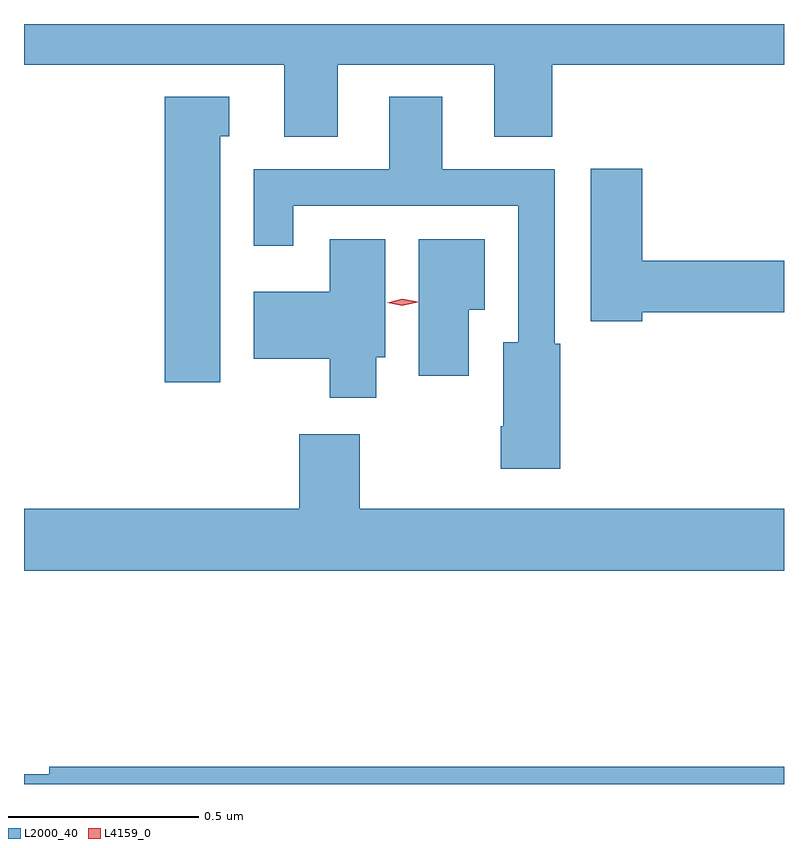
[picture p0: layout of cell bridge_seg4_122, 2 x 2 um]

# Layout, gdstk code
import gdstk
lib = gdstk.Library(unit=1e-6, precision=1e-09)
def P(c, l, *ps):  # polygons
    for p in ps: c.add(gdstk.Polygon(p, *l))
L2000_40 = (2000, 40)
L4159_0 = (4159, 0)

bridge_seg4_122 = lib.new_cell('bridge_seg4_122')
P(bridge_seg4_122, L2000_40, [(225.967,776.84),(226.379,776.84),(226.379,776.65),(226.532,776.65),(226.532,776.84),(227.142,776.84),(227.142,776.947),(225.142,776.947),(225.142,776.84),(225.827,776.84),(225.827,776.65),(225.967,776.65)],
  [(226.553,776.106),(226.539,776.106),(226.539,776.565),(226.243,776.565),(226.243,776.755),(226.103,776.755),(226.103,776.565),(225.746,776.565),(225.746,776.364),(225.85,776.364),(225.85,776.469),(226.443,776.469),(226.443,776.11),(226.403,776.11),(226.403,775.888),(226.396,775.888),(226.396,775.776),(226.553,775.776)],
  [(225.658,776.652),(225.682,776.652),(225.682,776.755),(225.512,776.755),(225.512,776.004),(225.658,776.004)],
  [(226.769,776.188),(227.142,776.188),(227.142,776.324),(226.769,776.324),(226.769,776.566),(226.634,776.566),(226.634,776.165),(226.769,776.165)],
  [(226.312,776.195),(226.354,776.195),(226.354,776.38),(226.181,776.38),(226.181,776.022),(226.312,776.022)],
  [(226.069,776.07),(226.093,776.07),(226.093,776.38),(225.947,776.38),(225.947,776.242),(225.746,776.242),(225.746,776.066),(225.947,776.066),(225.947,775.964),(226.069,775.964)],
  [(227.142,775.672),(226.026,775.672),(226.026,775.867),(225.866,775.867),(225.866,775.672),(225.142,775.672),(225.142,775.508),(227.142,775.508)],
  [(227.142,774.992),(225.208,774.992),(225.208,774.973),(225.142,774.973),(225.142,774.947),(227.142,774.947)])
P(bridge_seg4_122, L4159_0, [(226.138,776.205),(226.098,776.214),(226.097,776.214),(226.098,776.214),(226.137,776.224),(226.178,776.216),(226.178,776.215),(226.178,776.215)])

lib.write_gds('bridge_seg4_122.gds')
